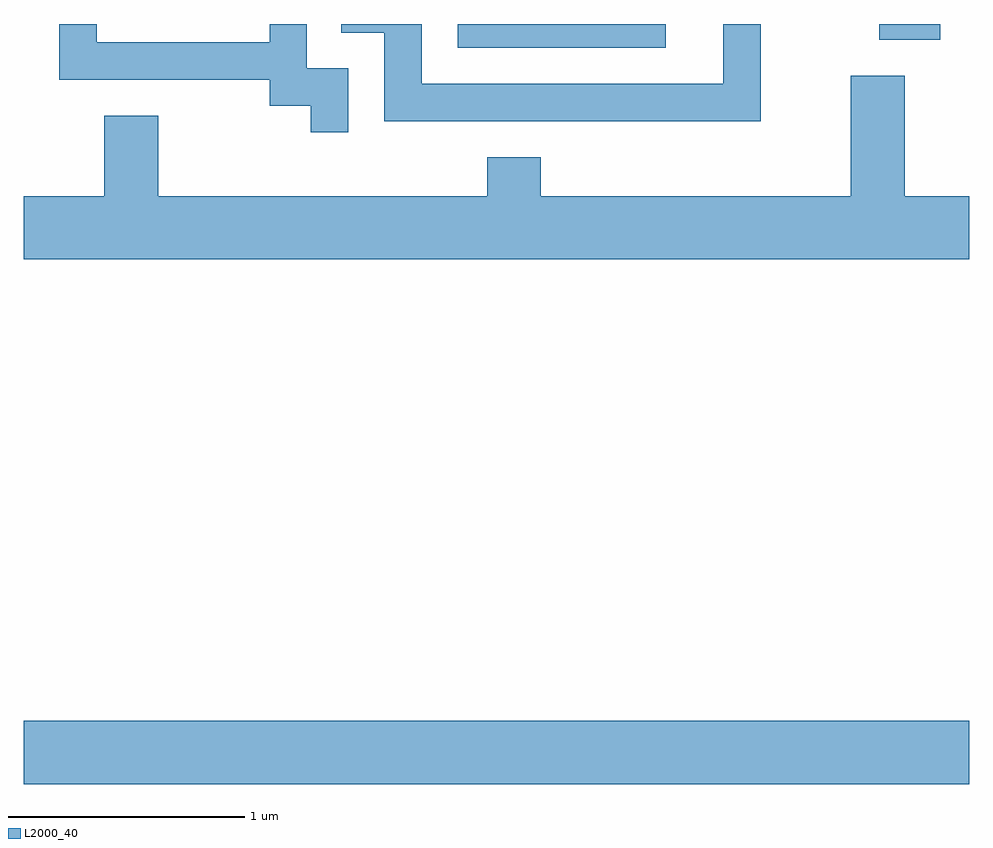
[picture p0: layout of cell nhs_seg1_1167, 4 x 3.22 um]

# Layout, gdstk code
import gdstk
lib = gdstk.Library(unit=1e-6, precision=1e-09)
def R(c, l, rs):  # rectangles x0, y0, x1, y1
    for r in rs: c.add(gdstk.rectangle(r[:2], r[2:], *l))
def P(c, l, *ps):  # polygons
    for p in ps: c.add(gdstk.Polygon(p, *l))
L2000_40 = (2000, 40)

nhs_seg1_1167 = lib.new_cell('nhs_seg1_1167')
R(nhs_seg1_1167, L2000_40, [(221.611,868.496,225.611,868.764), (223.446,871.611,224.328,871.712), (225.231,871.646,225.489,871.712)])
P(nhs_seg1_1167, L2000_40, [(222.984,871.524),(222.809,871.524),(222.809,871.712),(222.651,871.712),(222.651,871.634),(221.919,871.634),(221.919,871.712),(221.761,871.712),(221.761,871.476),(222.651,871.476),(222.651,871.366),(222.826,871.366),(222.826,871.253),(222.984,871.253)],
  [(224.729,871.712),(224.571,871.712),(224.571,871.459),(223.294,871.459),(223.294,871.712),(222.953,871.712),(222.953,871.676),(223.136,871.676),(223.136,871.301),(224.729,871.301)],
  [(225.611,870.984),(225.339,870.984),(225.339,871.494),(225.111,871.494),(225.111,870.984),(223.799,870.984),(223.799,871.149),(223.571,871.149),(223.571,870.984),(222.179,870.984),(222.179,871.324),(221.951,871.324),(221.951,870.984),(221.611,870.984),(221.611,870.716),(225.611,870.716)])

lib.write_gds('nhs_seg1_1167.gds')
